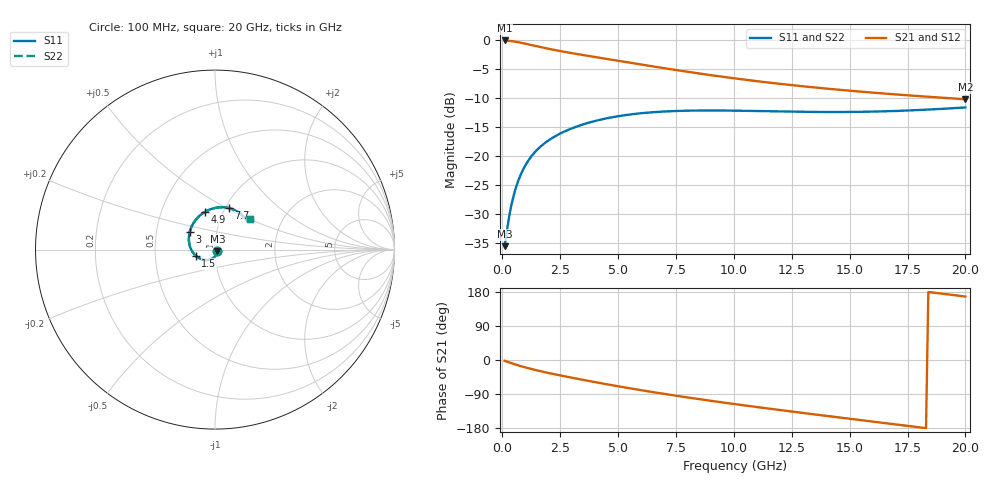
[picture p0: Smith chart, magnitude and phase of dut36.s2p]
! Touchstone file exported from HFSS 2023.1.0
!  File:  D:/Users/fzz/RDL_TSV/temp_RDL_TSV_36_1778744507.aedt
!  Generated:  3:51:58 %x4E0B%x5348  5%x6708 14, 2026
!  Design:  RDL_TSV
!  Project:  temp_RDL_TSV_36_1778744507
!  Setup:  Setup1
!  Solution:  Sweep
! Variables:
!  dtsv = 18.58um
!  hbump = 3um
!  htsv = 95.93um
!  ldown = 474.65um
!  lrdl = 168.18um
!  p = 40
!  p1 = 56.25um
!  rhole = 10um
!  subl = 2096.67um
!  t = 450um
!  tdown = 3.02um
!  trdl = 3.45um
!  viad = 10um
!  wdown = 15.51um
!  wrdl = 22.2um
!  xbump = 18um
# GHz S MA R 50.000000
! Terminal data exported
! Port[1] = TM1_1_T1
! Port[2] = TM1_4_T1
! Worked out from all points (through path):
!   200 points, 100 MHz to 20 GHz, reference 50 ohm
!   highest |S21| = -0.13 dB at 100 MHz (marker M1); lowest = -10.3 dB at 20 GHz (marker M2)
!   group delay of S21, straight-line fit = 24.9 ps
!   lowest |S11| = -35.5 dB at 100 MHz (marker M3), VSWR 1.03, Z = 51.3 - j1.04 ohm
!   |S11| at or under -10 dB: start of sweep to end of sweep
!   |S22| runs from -35.5 to -11.7 dB; largest |S21 - S12| = 1.3e-14
!   S11 on the Smith chart (normalised r, x): 100 MHz: 1.03, -0.02; 1.5 GHz: 0.80, -0.06; 3 GHz: 0.74, +0.15; 4.9 GHz: 0.82, +0.36; 7.7 GHz: 1.04, +0.51; 20 GHz: 1.38, +0.51
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0.1  0.0167 -37.5  0.9849 -2.2  0.9849 -2.2  0.0167 -37.5
! Gamma 0 0 0 0
! Port Impedance 50 0 50 0
0.3  0.0303 -78.8  0.9779 -6.4  0.9779 -6.4  0.03031 -78.8
0.4  0.03827 -90.9  0.9724 -8.5  0.9724 -8.5  0.03827 -90.9
0.6  0.05419 -109.2  0.9585 -12.4  0.9585 -12.4  0.05419 -109.2
0.8  0.06926 -123.8  0.9417 -16.2  0.9417 -16.2  0.06927 -123.7
1  0.08314 -136.3  0.9233 -19.6  0.9233 -19.6  0.08315 -136.3
1.2  0.09578 -147.5  0.9043 -22.9  0.9043 -22.9  0.09579 -147.5
1.5  0.1126 -162.3  0.8766 -27.4  0.8766 -27.4  0.1126 -162.3
2.1  0.1403 173.0  0.8268 -35.6  0.8268 -35.6  0.1403 173.0
3  0.1723 144.8  0.7661 -46.7  0.7661 -46.7  0.1723 144.8
3.5  0.1869 132.2  0.7369 -52.6  0.7369 -52.6  0.1869 132.2
4.9  0.2177 104.8  0.6633 -68.2  0.6633 -68.2  0.2178 104.7
5.8  0.2306 91.5  0.6202 -77.7  0.6202 -77.7  0.2307 91.5
6.8  0.2397 79.7  0.5763 -87.6  0.5763 -87.6  0.2397 79.7
7.7  0.2441 71.2  0.5406 -96.1  0.5406 -96.1  0.2441 71.2
8.9  0.2459 62.3  0.4986 -106.8  0.4986 -106.8  0.2459 62.2
10.1  0.2449 55.6  0.4627 -116.9  0.4627 -116.9  0.2449 55.6
11.7  0.2417 49.5  0.4231 -129.8  0.4231 -129.8  0.2418 49.4
13.4  0.2389 45.7  0.3895 -142.9  0.3895 -142.9  0.239 45.6
15  0.2387 43.8  0.3638 -155.1  0.3638 -155.1  0.2388 43.6
16.7  0.2424 42.8  0.3414 -167.8  0.3414 -167.8  0.2425 42.7
20  0.2609 41.3  0.3071 167.5  0.3071 167.5  0.2608 41.1
